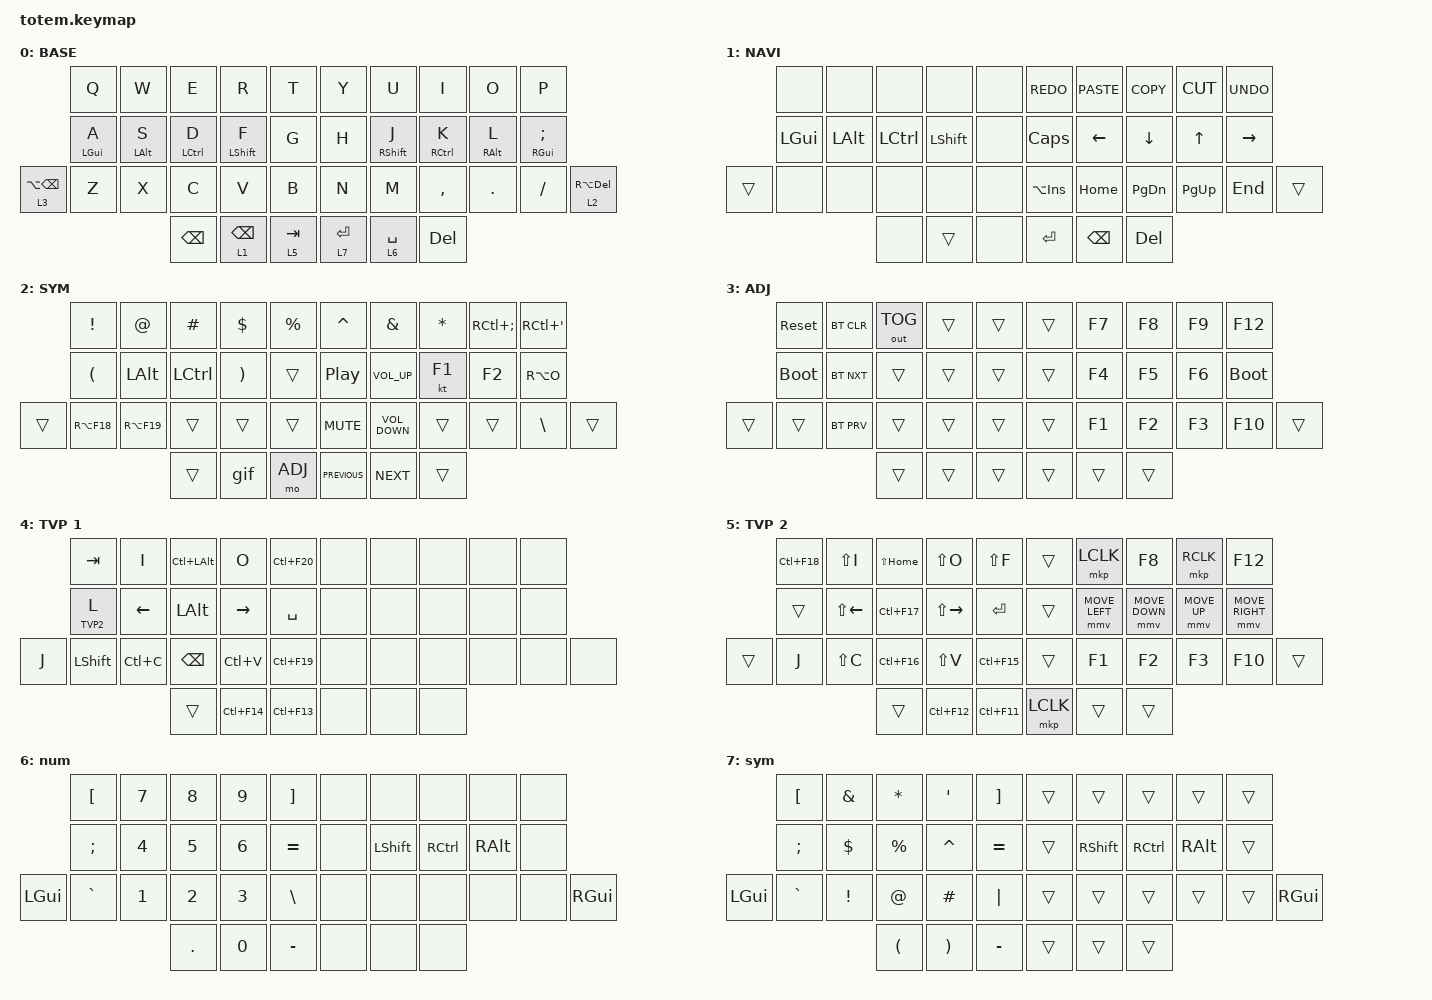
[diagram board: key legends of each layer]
//
//                                                        ▀▀▀▀▀     ▀▀▀▀▀          ▀▀█▀▀
//                                                        ▄▀▀▀▄  ▄  ▄▀▀▀▄  ▄  ▄▀▀▀▄  █  ▄▀▀▀▄
//                                                        █   █  █  █   █  █  █   █  █  █   █
//                                                         ▀▀▀   █   ▀▀▀   █   ▀▀▀   ▀   ▀▀▀
//                                                               █      ▄▄▄█▄▄▄    █   █  
//                                                               ▀      █  █  █     █▄█
//                                                             ▀▀▀▀▀    █  █  █      ▀
//                                                                      ▀  ▀  ▀
//
// ▄▄▄▄▄▄▄▄▄▄▄▄▄▄▄▄▄▄▄▄▄▄▄▄▄▄▄▄▄▄▄▄▄▄▄▄▄▄▄▄▄▄▄▄▄▄▄▄▄▄▄▄▄▄▄▄▄▄▄▄▄▄▄▄▄▄▄▄▄▄▄▄▄▄▄▄▄▄▄▄▄▄▄▄▄▄▄▄▄▄▄▄▄▄▄▄▄▄▄▄▄▄▄▄▄▄▄▄▄▄▄▄▄▄▄▄▄▄▄▄▄▄▄▄▄▄▄▄▄▄▄▄▄▄▄▄▄▄▄▄▄▄▄▄▄▄▄▄▄

#include <behaviors.dtsi>
#include <dt-bindings/zmk/bt.h>
#include <dt-bindings/zmk/keys.h>
#include <dt-bindings/zmk/outputs.h>
#include <dt-bindings/zmk/pointing.h>

#define BASE 0
#define NAV  1
#define SYM  2
#define ADJ  3
#define TVP1 4
#define TVP2 5

&mt {
    quick-tap-ms = <100>;
    global-quick-tap;
    flavor = "tap-preferred";
    tapping-term-ms = <170>;
};

/ {
    combos {
        compatible = "zmk,combos";

        combo_esc {
            timeout-ms = <50>;
            key-positions = <0 1>;
            bindings = <&kp ESC>;
        };

        spotligh_left {
            bindings = <&kp LG(SPACE)>;
            key-positions = <1 2 3>;
        };

        spotlight_right {
            bindings = <&kp RG(SPACE)>;
            key-positions = <6 7 8>;
        };

        fullscreen_right {
            bindings = <&kp RC(RG(F))>;
            key-positions = <16 17 18 19>;
        };

        fullscreen_left {
            bindings = <&kp LC(LG(F))>;
            key-positions = <11 12 13 10>;
        };
    };

    macros {
        gif: gif {
            label = "giphy";
            compatible = "zmk,behavior-macro";
            #binding-cells = <0>;
            bindings =
                <&macro_press>,
                <&kp LSHFT>,
                <&macro_tap>,
                <&kp N2>,
                <&macro_release>,
                <&kp LSHFT>,
                <&macro_tap>,
                <&kp G &kp I &kp F>;
        };
    };

    keymap {
        compatible = "zmk,keymap";

        // ▄▄▄▄▄▄▄▄▄▄▄▄▄▄▄▄▄▄▄▄▄▄▄▄▄▄▄▄▄▄▄▄▄▄▄▄▄▄▄▄▄▄▄▄▄▄▄▄▄▄▄▄▄▄▄▄▄▄▄▄▄▄▄▄▄▄▄▄▄▄▄▄▄▄▄▄▄▄▄▄▄▄▄▄▄▄▄▄▄▄▄▄▄▄▄▄▄▄▄▄▄▄▄▄▄▄▄▄▄▄▄▄▄▄▄▄▄▄▄▄▄▄▄▄▄▄▄▄▄▄▄▄▄▄▄▄▄▄▄▄▄▄▄▄▄▄▄▄▄

        base_layer {
            // ┏━━━━━━━━━━━━━━━━━━━━━━━━━━━━━━━━━━━━━━━┓

            label = "BASE";

            // ┗━━━━━━━━━━━━━━━━━━━━━━━━━━━━━━━━━━━━━━━┛
            //             ┏━━━━━━━━━━━┳━━━━━━━━━━━┳━━━━━━━━━━━┳━━━━━━━━━━━┳━━━━━━━━━━━┓   ┏━━━━━━━━━━━┳━━━━━━━━━━━┳━━━━━━━━━━━┳━━━━━━━━━━━┳━━━━━━━━━━━┓
            //             ┃     Q     ┃     W     ┃     F     ┃     P     ┃     G     ┃   ┃     J     ┃     L     ┃     U     ┃     Y     ┃     ;     ┃
            //             ┣━━━━━━━━━━━╋━━━━━━━━━━━╋━━━━━━━━━━━╋━━━━━━━━━━━╋━━━━━━━━━━━┫   ┣━━━━━━━━━━━╋━━━━━━━━━━━╋━━━━━━━━━━━╋━━━━━━━━━━━╋━━━━━━━━━━━┫
            //             ┃     A     ┃     R     ┃     S     ┃     T     ┃     D     ┃   ┃     H     ┃     N     ┃     E     ┃     I     ┃     O     ┃
            // ┏━━━━━━━━━━━╋━━━━━━━━━━━╋━━━━━━━━━━━╋━━━━━━━━━━━╋━━━━━━━━━━━╋━━━━━━━━━━━┫   ┣━━━━━━━━━━━╋━━━━━━━━━━━╋━━━━━━━━━━━╋━━━━━━━━━━━╋━━━━━━━━━━━╋━━━━━━━━━━━┓
            // ┃     Q     ┃     Z     ┃     X     ┃     C     ┃     V     ┃     B     ┃   ┃     K     ┃     M     ┃     ,     ┃     .     ┃     /     ┃     \     ┃
            // ┗━━━━━━━━━━━┻━━━━━━━━━━━┻━━━━━━━━━━━╋━━━━━━━━━━━╋━━━━━━━━━━━╋━━━━━━━━━━━┫   ┣━━━━━━━━━━━╋━━━━━━━━━━━╋━━━━━━━━━━━╋━━━━━━━━━━━┻━━━━━━━━━━━┻━━━━━━━━━━━┛
            //                                     ┃    DEL    ┃    TAB    ┃    SPC    ┃   ┃   ENTER   ┃           ┃   BSPC    ┃
            //                                     ┗━━━━━━━━━━━┻━━━━━━━━━━━┻━━━━━━━━━━━┛   ┗━━━━━━━━━━━┻━━━━━━━━━━━┻━━━━━━━━━━━┛

            bindings = <
                     &kp Q           &kp W       &kp E          &kp R            &kp T        &kp Y         &kp U        &kp I        &kp O       &kp P
                     &mt LEFT_GUI A  &mt LALT S  &mt LCTRL D    &mt LSHFT F      &kp G        &kp H         &mt RSHFT J  &mt RCTRL K  &mt RALT L  &mt RGUI SEMI
&lt 3 LA(BACKSPACE)  &kp Z           &kp X       &kp C          &kp V            &kp B        &kp N         &kp M        &kp COMMA    &kp DOT     &kp FSLH       &lt 2 RA(DELETE)
                                                 &kp BACKSPACE  &lt 1 BACKSPACE  &lt 5 TAB    &lt 7 RETURN  &lt 6 SPACE  &kp DELETE
            >;
        };

        // ▄▄▄▄▄▄▄▄▄▄▄▄▄▄▄▄▄▄▄▄▄▄▄▄▄▄▄▄▄▄▄▄▄▄▄▄▄▄▄▄▄▄▄▄▄▄▄▄▄▄▄▄▄▄▄▄▄▄▄▄▄▄▄▄▄▄▄▄▄▄▄▄▄▄▄▄▄▄▄▄▄▄▄▄▄▄▄▄▄▄▄▄▄▄▄▄▄▄▄▄▄▄▄▄▄▄▄▄▄▄▄▄▄▄▄▄▄▄▄▄▄▄▄▄▄▄▄▄▄▄▄▄▄▄▄▄▄▄▄▄▄▄▄▄▄▄▄▄▄

        nav_layer {
            // ┏━━━━━━━━━━━━━━━━━━━━━━━━━━━━━━━━━━━━━━━┓

            label = "NAVI";

            // ┗━━━━━━━━━━━━━━━━━━━━━━━━━━━━━━━━━━━━━━━┛
            //             ┏━━━━━━━━━━━┳━━━━━━━━━━━┳━━━━━━━━━━━┳━━━━━━━━━━━┳━━━━━━━━━━━┓   ┏━━━━━━━━━━━┳━━━━━━━━━━━┳━━━━━━━━━━━┳━━━━━━━━━━━┳━━━━━━━━━━━┓
            //             ┃           ┃           ┃     UP    ┃           ┃     {     ┃   ┃     }     ┃     7     ┃     8     ┃     9     ┃     +     ┃
            //             ┣━━━━━━━━━━━╋━━━━━━━━━━━╋━━━━━━━━━━━╋━━━━━━━━━━━╋━━━━━━━━━━━┫   ┣━━━━━━━━━━━╋━━━━━━━━━━━╋━━━━━━━━━━━╋━━━━━━━━━━━╋━━━━━━━━━━━┫
            //             ┃   SHIFT   ┃   LEFT    ┃    DOWN   ┃   RIGHT   ┃     [     ┃   ┃     ]     ┃     4     ┃     5     ┃     6     ┃     -     ┃
            // ┏━━━━━━━━━━━╋━━━━━━━━━━━╋━━━━━━━━━━━╋━━━━━━━━━━━╋━━━━━━━━━━━╋━━━━━━━━━━━┫   ┣━━━━━━━━━━━╋━━━━━━━━━━━╋━━━━━━━━━━━╋━━━━━━━━━━━╋━━━━━━━━━━━╋━━━━━━━━━━━┓
            // ┃           ┃           ┃   P UP    ┃  C LOCK   ┃  P DOWN   ┃     (     ┃   ┃     )     ┃     1     ┃     2     ┃     3     ┃     *     ┃           ┃
            // ┗━━━━━━━━━━━┻━━━━━━━━━━━┻━━━━━━━━━━━╋━━━━━━━━━━━╋━━━━━━━━━━━╋━━━━━━━━━━━┫   ┣━━━━━━━━━━━╋━━━━━━━━━━━╋━━━━━━━━━━━╋━━━━━━━━━━━┻━━━━━━━━━━━┻━━━━━━━━━━━┛
            //                                     ┃           ┃    TAB    ┃    SPC    ┃   ┃    DEL    ┃     0     ┃           ┃
            //                                     ┗━━━━━━━━━━━┻━━━━━━━━━━━┻━━━━━━━━━━━┛   ┗━━━━━━━━━━━┻━━━━━━━━━━━┻━━━━━━━━━━━┛

            bindings = <
        &none     &none         &none             &none           &none    &kp K_REDO      &kp K_PASTE     &kp K_COPY      &kp K_CUT     &kp K_UNDO
        &kp LGUI  &kp LEFT_ALT  &kp LEFT_CONTROL  &kp LEFT_SHIFT  &none    &kp CAPSLOCK    &kp LEFT_ARROW  &kp DOWN_ARROW  &kp UP_ARROW  &kp RIGHT_ARROW
&trans  &none     &none         &none             &none           &none    &kp LA(INSERT)  &kp HOME        &kp PAGE_DOWN   &kp PG_UP     &kp END          &trans
                                &none             &trans          &none    &kp ENTER       &kp BACKSPACE   &kp DELETE
            >;
        };

        // ▄▄▄▄▄▄▄▄▄▄▄▄▄▄▄▄▄▄▄▄▄▄▄▄▄▄▄▄▄▄▄▄▄▄▄▄▄▄▄▄▄▄▄▄▄▄▄▄▄▄▄▄▄▄▄▄▄▄▄▄▄▄▄▄▄▄▄▄▄▄▄▄▄▄▄▄▄▄▄▄▄▄▄▄▄▄▄▄▄▄▄▄▄▄▄▄▄▄▄▄▄▄▄▄▄▄▄▄▄▄▄▄▄▄▄▄▄▄▄▄▄▄▄▄▄▄▄▄▄▄▄▄▄▄▄▄▄▄▄▄▄▄▄▄▄▄▄▄▄

        sim_layer {
            // ┏━━━━━━━━━━━━━━━━━━━━━━━━━━━━━━━━━━━━━━━┓

            label = "SYM";

            // ┗━━━━━━━━━━━━━━━━━━━━━━━━━━━━━━━━━━━━━━━┛
            //             ┏━━━━━━━━━━━┳━━━━━━━━━━━┳━━━━━━━━━━━┳━━━━━━━━━━━┳━━━━━━━━━━━┓   ┏━━━━━━━━━━━┳━━━━━━━━━━━┳━━━━━━━━━━━┳━━━━━━━━━━━┳━━━━━━━━━━━┓
            //             ┃     !     ┃     @     ┃     #     ┃     $     ┃     %     ┃   ┃     ˆ     ┃     &     ┃     Ü     ┃     '     ┃     "     ┃
            //             ┣━━━━━━━━━━━╋━━━━━━━━━━━╋━━━━━━━━━━━╋━━━━━━━━━━━╋━━━━━━━━━━━┫   ┣━━━━━━━━━━━╋━━━━━━━━━━━╋━━━━━━━━━━━╋━━━━━━━━━━━╋━━━━━━━━━━━┫
            //             ┃     Ä     ┃           ┃    SZ     ┃           ┃           ┃   ┃   MUTE    ┃   YEN     ┃   EURO    ┃  POUND    ┃     Ö     ┃
            // ┏━━━━━━━━━━━╋━━━━━━━━━━━╋━━━━━━━━━━━╋━━━━━━━━━━━╋━━━━━━━━━━━╋━━━━━━━━━━━┫   ┣━━━━━━━━━━━╋━━━━━━━━━━━╋━━━━━━━━━━━╋━━━━━━━━━━━╋━━━━━━━━━━━╋━━━━━━━━━━━┓
            // ┃           ┃  EMAIL1   ┃  EMAIL2   ┃           ┃           ┃           ┃   ┃   VOL-    ┃   VOL+    ┃   LAST    ┃   NEXT    ┃     \     ┃           ┃
            // ┗━━━━━━━━━━━┻━━━━━━━━━━━┻━━━━━━━━━━━╋━━━━━━━━━━━╋━━━━━━━━━━━╋━━━━━━━━━━━┫   ┣━━━━━━━━━━━╋━━━━━━━━━━━╋━━━━━━━━━━━╋━━━━━━━━━━━┻━━━━━━━━━━━┻━━━━━━━━━━━┛
            //                                     ┃           ┃    GIF    ┃    ADJ    ┃   ┃           ┃           ┃           ┃
            //                                     ┗━━━━━━━━━━━┻━━━━━━━━━━━┻━━━━━━━━━━━┛   ┗━━━━━━━━━━━┻━━━━━━━━━━━┻━━━━━━━━━━━┛

            bindings = <
        &kp EXCL              &kp AT        &kp HASH   &kp DLLR               &kp PRCNT    &kp CARET         &kp AMPS           &kp ASTERISK  &kp RC(SEMICOLON)  &kp RC(SQT)
        &kp LEFT_PARENTHESIS  &kp LEFT_ALT  &kp LCTRL  &kp RIGHT_PARENTHESIS  &trans       &kp C_PLAY_PAUSE  &kp C_VOLUME_UP    &kt F1        &kp F2             &kp RA(O)
&trans  &kp RA(F18)           &kp RA(F19)   &trans     &trans                 &trans       &kp C_MUTE        &kp C_VOLUME_DOWN  &trans        &trans             &kp BSLH     &trans
                                            &trans     &gif                   &mo ADJ      &kp C_PREVIOUS    &kp C_NEXT         &trans
            >;
        };

        // ▄▄▄▄▄▄▄▄▄▄▄▄▄▄▄▄▄▄▄▄▄▄▄▄▄▄▄▄▄▄▄▄▄▄▄▄▄▄▄▄▄▄▄▄▄▄▄▄▄▄▄▄▄▄▄▄▄▄▄▄▄▄▄▄▄▄▄▄▄▄▄▄▄▄▄▄▄▄▄▄▄▄▄▄▄▄▄▄▄▄▄▄▄▄▄▄▄▄▄▄▄▄▄▄▄▄▄▄▄▄▄▄▄▄▄▄▄▄▄▄▄▄▄▄▄▄▄▄▄▄▄▄▄▄▄▄▄▄▄▄▄▄▄▄▄▄▄▄▄

        function_layer {
            // ┏━━━━━━━━━━━━━━━━━━━━━━━━━━━━━━━━━━━━━━━┓

            label = "ADJ";

            // ┗━━━━━━━━━━━━━━━━━━━━━━━━━━━━━━━━━━━━━━━┛
            //             ┏━━━━━━━━━━━┳━━━━━━━━━━━┳━━━━━━━━━━━┳━━━━━━━━━━━┳━━━━━━━━━━━┓   ┏━━━━━━━━━━━┳━━━━━━━━━━━┳━━━━━━━━━━━┳━━━━━━━━━━━┳━━━━━━━━━━━┓
            //             ┃   RESET   ┃ BT CLEAR  ┃  OUT TOG  ┃           ┃           ┃   ┃           ┃    F7     ┃    F8     ┃    F9     ┃    F12    ┃
            //             ┣━━━━━━━━━━━╋━━━━━━━━━━━╋━━━━━━━━━━━╋━━━━━━━━━━━╋━━━━━━━━━━━┫   ┣━━━━━━━━━━━╋━━━━━━━━━━━╋━━━━━━━━━━━╋━━━━━━━━━━━╋━━━━━━━━━━━┫
            //             ┃ BOOTLOAD  ┃ BT NEXT   ┃           ┃           ┃           ┃   ┃           ┃    F4     ┃    F5     ┃    F6     ┃    F11    ┃
            // ┏━━━━━━━━━━━╋━━━━━━━━━━━╋━━━━━━━━━━━╋━━━━━━━━━━━╋━━━━━━━━━━━╋━━━━━━━━━━━┫   ┣━━━━━━━━━━━╋━━━━━━━━━━━╋━━━━━━━━━━━╋━━━━━━━━━━━╋━━━━━━━━━━━╋━━━━━━━━━━━┓
            // ┃           ┃           ┃ BT PREV   ┃           ┃           ┃           ┃   ┃           ┃    F1     ┃    F2     ┃    F3     ┃    F10    ┃           ┃
            // ┗━━━━━━━━━━━┻━━━━━━━━━━━┻━━━━━━━━━━━╋━━━━━━━━━━━╋━━━━━━━━━━━╋━━━━━━━━━━━┫   ┣━━━━━━━━━━━╋━━━━━━━━━━━╋━━━━━━━━━━━╋━━━━━━━━━━━┻━━━━━━━━━━━┻━━━━━━━━━━━┛
            //                                     ┃           ┃           ┃           ┃   ┃           ┃           ┃           ┃
            //                                     ┗━━━━━━━━━━━┻━━━━━━━━━━━┻━━━━━━━━━━━┛   ┗━━━━━━━━━━━┻━━━━━━━━━━━┻━━━━━━━━━━━┛

            bindings = <
        &sys_reset   &bt BT_CLR  &out OUT_TOG  &trans  &trans    &trans  &kp F7  &kp F8  &kp F9  &kp F12
        &bootloader  &bt BT_NXT  &trans        &trans  &trans    &trans  &kp F4  &kp F5  &kp F6  &bootloader
&trans  &trans       &bt BT_PRV  &trans        &trans  &trans    &trans  &kp F1  &kp F2  &kp F3  &kp F10      &trans
                                 &trans        &trans  &trans    &trans  &trans  &trans
            >;
        };

        // ▄▄▄▄▄▄▄▄▄▄▄▄▄▄▄▄▄▄▄▄▄▄▄▄▄▄▄▄▄▄▄▄▄▄▄▄▄▄▄▄▄▄▄▄▄▄▄▄▄▄▄▄▄▄▄▄▄▄▄▄▄▄▄▄▄▄▄▄▄▄▄▄▄▄▄▄▄▄▄▄▄▄▄▄▄▄▄▄▄▄▄▄▄▄▄▄▄▄▄▄▄▄▄▄▄▄▄▄▄▄▄▄▄▄▄▄▄▄▄▄▄▄▄▄▄▄▄▄▄▄▄▄▄▄▄▄▄▄▄▄▄▄▄▄▄▄▄▄▄

        tvp1_layer {
            // ┏━━━━━━━━━━━━━━━━━━━━━━━━━━━━━━━━━━━━━━━┓

            label = "TVP 1";

            // ┗━━━━━━━━━━━━━━━━━━━━━━━━━━━━━━━━━━━━━━━┛
            //             ┏━━━━━━━━━━━┳━━━━━━━━━━━┳━━━━━━━━━━━┳━━━━━━━━━━━┳━━━━━━━━━━━┓   ┏━━━━━━━━━━━┳━━━━━━━━━━━┳━━━━━━━━━━━┳━━━━━━━━━━━┳━━━━━━━━━━━┓
            //             ┃ NEXT FILE ┃ MARK IN   ┃ ROTATE    ┃ MARK OUT  ┃ SHOW SNAP ┃   ┃           ┃           ┃           ┃           ┃           ┃
            //             ┣━━━━━━━━━━━╋━━━━━━━━━━━╋━━━━━━━━━━━╋━━━━━━━━━━━╋━━━━━━━━━━━┫   ┣━━━━━━━━━━━╋━━━━━━━━━━━╋━━━━━━━━━━━╋━━━━━━━━━━━╋━━━━━━━━━━━┫
            //             ┃ TVP II    ┃ LEFT      ┃ PAN       ┃ RIGHT     ┃ PLAY/FLIP ┃   ┃           ┃           ┃           ┃           ┃           ┃
            // ┏━━━━━━━━━━━╋━━━━━━━━━━━╋━━━━━━━━━━━╋━━━━━━━━━━━╋━━━━━━━━━━━╋━━━━━━━━━━━┫   ┣━━━━━━━━━━━╋━━━━━━━━━━━╋━━━━━━━━━━━╋━━━━━━━━━━━╋━━━━━━━━━━━╋━━━━━━━━━━━┓
            // ┃ FULLSCR   ┃ SHIFT     ┃ COPY      ┃ DELETE    ┃ PASTE     ┃ IMG MARK  ┃   ┃           ┃           ┃           ┃           ┃           ┃           ┃
            // ┗━━━━━━━━━━━┻━━━━━━━━━━━┻━━━━━━━━━━━╋━━━━━━━━━━━╋━━━━━━━━━━━╋━━━━━━━━━━━┫   ┣━━━━━━━━━━━╋━━━━━━━━━━━╋━━━━━━━━━━━╋━━━━━━━━━━━┻━━━━━━━━━━━┻━━━━━━━━━━━┛
            //                                     ┃           ┃ UNDO/SAVE ┃  SEL/MOV  ┃   ┃           ┃           ┃           ┃
            //                                     ┗━━━━━━━━━━━┻━━━━━━━━━━━┻━━━━━━━━━━━┛   ┗━━━━━━━━━━━┻━━━━━━━━━━━┻━━━━━━━━━━━┛

            bindings = <
       &kp TAB     &kp I      &kp LC(LALT)  &kp O        &kp LC(F20)    &none  &none  &none  &none  &none
       &lt TVP2 L  &kp LEFT   &kp LALT      &kp RIGHT    &kp SPACE      &none  &none  &none  &none  &none
&kp J  &kp LSHFT   &kp LC(C)  &kp BSPC      &kp LC(V)    &kp LC(F19)    &none  &none  &none  &none  &none  &none
                              &trans        &kp LC(F14)  &kp LC(F13)    &none  &none  &none
            >;
        };

        // ▄▄▄▄▄▄▄▄▄▄▄▄▄▄▄▄▄▄▄▄▄▄▄▄▄▄▄▄▄▄▄▄▄▄▄▄▄▄▄▄▄▄▄▄▄▄▄▄▄▄▄▄▄▄▄▄▄▄▄▄▄▄▄▄▄▄▄▄▄▄▄▄▄▄▄▄▄▄▄▄▄▄▄▄▄▄▄▄▄▄▄▄▄▄▄▄▄▄▄▄▄▄▄▄▄▄▄▄▄▄▄▄▄▄▄▄▄▄▄▄▄▄▄▄▄▄▄▄▄▄▄▄▄▄▄▄▄▄▄▄▄▄▄▄▄▄▄▄▄

        mouse_layer {
            // ┏━━━━━━━━━━━━━━━━━━━━━━━━━━━━━━━━━━━━━━━┓

            label = "TVP 2";

            // ┗━━━━━━━━━━━━━━━━━━━━━━━━━━━━━━━━━━━━━━━┛
            //             ┏━━━━━━━━━━━┳━━━━━━━━━━━┳━━━━━━━━━━━┳━━━━━━━━━━━┳━━━━━━━━━━━┓   ┏━━━━━━━━━━━┳━━━━━━━━━━━┳━━━━━━━━━━━┳━━━━━━━━━━━┳━━━━━━━━━━━┓
            //             ┃ SOLO      ┃ TOGGLE IN ┃ RESET ROT ┃ TOGGLE OUT┃ TAKE SNAP ┃   ┃           ┃           ┃           ┃           ┃           ┃
            //             ┣━━━━━━━━━━━╋━━━━━━━━━━━╋━━━━━━━━━━━╋━━━━━━━━━━━╋━━━━━━━━━━━┫   ┣━━━━━━━━━━━╋━━━━━━━━━━━╋━━━━━━━━━━━╋━━━━━━━━━━━╋━━━━━━━━━━━┫
            //             ┃ ---       ┃ LAST KEY  ┃ NEW KEY   ┃ NEXT KEY  ┃ ENTER     ┃   ┃           ┃           ┃           ┃           ┃           ┃
            // ┏━━━━━━━━━━━╋━━━━━━━━━━━╋━━━━━━━━━━━╋━━━━━━━━━━━╋━━━━━━━━━━━╋━━━━━━━━━━━┫   ┣━━━━━━━━━━━╋━━━━━━━━━━━╋━━━━━━━━━━━╋━━━━━━━━━━━╋━━━━━━━━━━━╋━━━━━━━━━━━┓
            // ┃           ┃ FULLSCR   ┃ CPY2BRUSH ┃ DEL HEAD  ┃ PSTinPLACE┃ BOOK MARK ┃   ┃           ┃           ┃           ┃           ┃           ┃           ┃
            // ┗━━━━━━━━━━━┻━━━━━━━━━━━┻━━━━━━━━━━━╋━━━━━━━━━━━╋━━━━━━━━━━━╋━━━━━━━━━━━┫   ┣━━━━━━━━━━━╋━━━━━━━━━━━╋━━━━━━━━━━━╋━━━━━━━━━━━┻━━━━━━━━━━━┻━━━━━━━━━━━┛
            //                                     ┃           ┃ REDO/SAV1 ┃TRANS/WARP ┃   ┃           ┃           ┃           ┃
            //                                     ┗━━━━━━━━━━━┻━━━━━━━━━━━┻━━━━━━━━━━━┛   ┗━━━━━━━━━━━┻━━━━━━━━━━━┻━━━━━━━━━━━┛

            bindings = <
        &kp LC(F18)  &kp LS(I)     &kp LS(HOME)  &kp LS(O)      &kp LS(F)      &trans     &mkp LCLK       &kp F8          &mkp RCLK     &kp F12
        &trans       &kp LS(LEFT)  &kp LC(F17)   &kp LS(RIGHT)  &kp RET        &trans     &mmv MOVE_LEFT  &mmv MOVE_DOWN  &mmv MOVE_UP  &mmv MOVE_RIGHT
&trans  &kp J        &kp LS(C)     &kp LC(F16)   &kp LS(V)      &kp LC(F15)    &trans     &kp F1          &kp F2          &kp F3        &kp F10          &trans
                                   &trans        &kp LC(F12)    &kp LC(F11)    &mkp LCLK  &trans          &trans
            >;
        };

        num {
            bindings = <
          &kp LBKT   &kp N7  &kp N8   &kp N9  &kp RBKT     &none  &none      &none      &none     &none
          &kp SEMI   &kp N4  &kp N5   &kp N6  &kp EQUAL    &none  &kp LSHFT  &kp RCTRL  &kp RALT  &none
&kp LGUI  &kp GRAVE  &kp N1  &kp N2   &kp N3  &kp BSLH     &none  &none      &none      &none     &none  &kp RGUI
                             &kp DOT  &kp N0  &kp MINUS    &none  &none      &none
            >;
        };

        sym {
            bindings = <
              &kp LEFT_BRACKET  &kp AMPERSAND    &kp ASTERISK          &kp SINGLE_QUOTE       &kp RIGHT_BRACKET    &trans  &trans           &trans             &trans         &trans
              &kp SEMICOLON     &kp DOLLAR       &kp PERCENT           &kp CARET              &kp EQUAL            &trans  &kp RIGHT_SHIFT  &kp RIGHT_CONTROL  &kp RIGHT_ALT  &trans
&kp LEFT_GUI  &kp GRAVE         &kp EXCLAMATION  &kp AT_SIGN           &kp HASH               &kp PIPE             &trans  &trans           &trans             &trans         &trans  &kp RIGHT_GUI
                                                 &kp LEFT_PARENTHESIS  &kp RIGHT_PARENTHESIS  &kp MINUS            &trans  &trans           &trans
            >;
        };
    };
};
